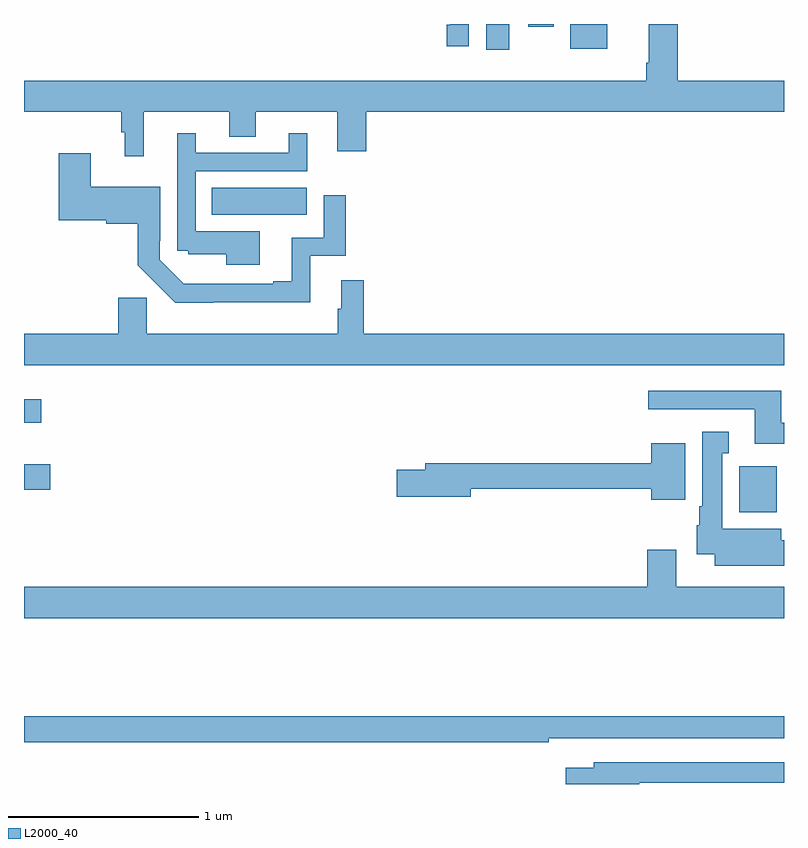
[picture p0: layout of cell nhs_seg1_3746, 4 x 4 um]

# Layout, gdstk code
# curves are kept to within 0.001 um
import gdstk
lib = gdstk.Library(unit=1e-6, precision=1e-09)
def R(c, l, rs):  # rectangles x0, y0, x1, y1
    for r in rs: c.add(gdstk.rectangle(r[:2], r[2:], *l))
def P(c, l, *ps):  # polygons
    for p in ps: c.add(gdstk.Polygon(p, *l))
L2000_40 = (2000, 40)

nhs_seg1_3746 = lib.new_cell('nhs_seg1_3746')
R(nhs_seg1_3746, L2000_40, [(318.764,545.63,318.961,545.872), (315,545.747,315.139,545.881), (315,546.101,315.091,546.223), (315.988,547.196,316.489,547.336), (317.432,548.064,317.554,548.199), (317.876,548.069,318.07,548.199), (317.654,548.184,317.788,548.199)])
P(nhs_seg1_3746, L2000_40, [(317.34,548.199),(317.244,548.199),(317.244,548.194),(317.224,548.194),(317.224,548.082),(317.34,548.082)],
  [(315.629,547.736),(316.079,547.736),(316.079,547.606),(316.219,547.606),(316.219,547.736),(316.649,547.736),(316.649,547.53),(316.802,547.53),(316.802,547.736),(319,547.736),(319,547.9),(318.44,547.9),(318.44,548.199),(318.287,548.199),(318.287,547.996),(318.275,547.996),(318.275,547.9),(315,547.9),(315,547.736),(315.511,547.736),(315.511,547.628),(315.53,547.628),(315.53,547.503),(315.629,547.503)],
  [(316.24,547.108),(315.903,547.108),(315.903,547.425),(316.492,547.425),(316.492,547.624),(316.394,547.624),(316.394,547.521),(315.904,547.521),(315.904,547.624),(315.807,547.624),(315.807,547.005),(315.864,547.005),(315.864,546.986),(316.064,546.986),(316.064,546.932),(316.24,546.932)],
  [(315.995,546.734),(316.507,546.734),(316.507,546.978),(316.694,546.978),(316.694,547.297),(316.578,547.297),(316.578,547.074),(316.409,547.074),(316.409,546.844),(316.313,546.844),(316.313,546.831),(315.84,546.832),(315.714,546.957),(315.714,547.057),(315.717,547.057),(315.717,547.342),(315.352,547.342),(315.352,547.519),(315.182,547.519),(315.182,547.166),(315.432,547.166),(315.432,547.148),(315.599,547.148),(315.599,546.929),(315.796,546.732),(315.995,546.732)],
  [(319,546.568),(316.787,546.568),(316.787,546.85),(316.67,546.85),(316.67,546.701),(316.651,546.701),(316.651,546.568),(315.647,546.568),(315.647,546.759),(315.497,546.759),(315.497,546.568),(315,546.568),(315,546.404),(319,546.404)],
  [(319,546.1),(318.985,546.1),(318.985,546.268),(318.285,546.268),(318.285,546.171),(318.845,546.171),(318.845,545.99),(319,545.99)],
  [(319,545.483),(318.985,545.483),(318.985,545.542),(318.676,545.542),(318.676,545.939),(318.709,545.939),(318.709,546.052),(318.569,546.052),(318.569,545.662),(318.554,545.662),(318.554,545.562),(318.542,545.562),(318.542,545.408),(318.635,545.408),(318.635,545.348),(319,545.348)],
  [(318.481,545.992),(318.302,545.992),(318.302,545.888),(317.111,545.888),(317.111,545.852),(316.962,545.852),(316.962,545.71),(317.35,545.71),(317.35,545.752),(318.302,545.752),(318.302,545.696),(318.481,545.696)],
  [(319,545.236),(318.433,545.236),(318.433,545.431),(318.281,545.431),(318.281,545.236),(315,545.236),(315,545.072),(319,545.072)],
  [(317.762,544.44),(319,544.44),(319,544.556),(315,544.556),(315,544.42),(317.762,544.42)],
  [(318.238,544.206),(319,544.206),(319,544.314),(317.999,544.314),(317.999,544.285),(317.85,544.285),(317.85,544.199),(318.238,544.199)])

lib.write_gds('nhs_seg1_3746.gds')
